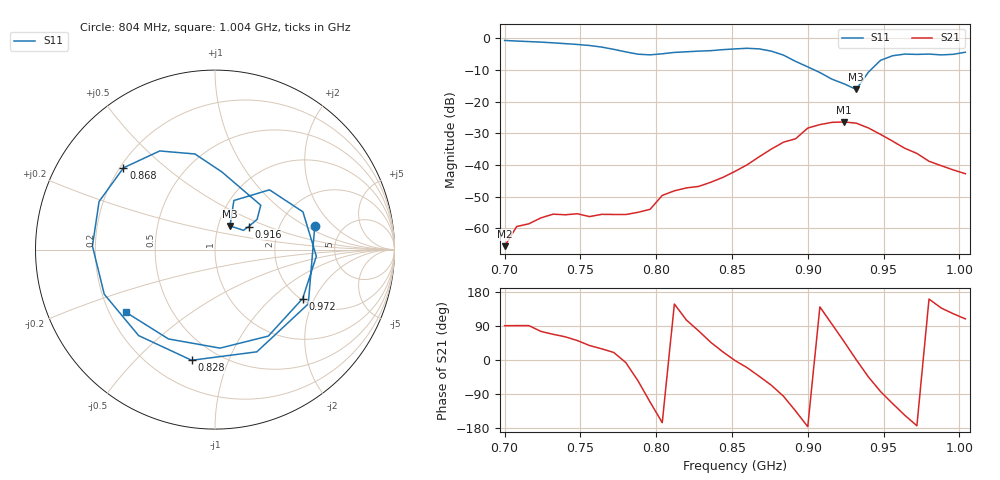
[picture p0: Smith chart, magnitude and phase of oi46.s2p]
# Hz S RI R 50
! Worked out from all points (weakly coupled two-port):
!   39 points, 700 MHz to 1.004 GHz, reference 50 ohm
!   highest |S21| = -26.40 dB at 924 MHz (marker M1); lowest = -65.7 dB at 700 MHz (marker M2)
!   lowest |S11| = -16.1 dB at 932 MHz (marker M3), VSWR 1.37, Z = 56.9 + j15.4 ohm
!   |S11| at or under -10 dB: 904.5 MHz to 941.4 MHz (36.92 MHz wide, 4 % of centre)
!   S12 and S22 are empty: the file has one direction only
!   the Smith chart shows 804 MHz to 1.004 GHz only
!   S11 on the Smith chart (normalised r, x): 804 MHz: 3.13, +1.24; 828 MHz: 0.36, -0.74; 868 MHz: 0.21, +0.37; 916 MHz: 1.40, +0.38; 972 MHz: 2.05, -1.62; 1.004 GHz: 0.27, -0.30
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7e8  0.7623 0.5319  -4.95e-06 0.000519  0 0  0 0
7.08e8  0.8631 0.2879  -1.43e-05 0.00106  0 0  0 0
7.24e8  0.8363 -0.2583  0.000368 0.00141  0 0  0 0
7.4e8  0.4461 -0.6971  0.000784 0.00143  0 0  0 0
7.56e8  -0.1952 -0.7483  0.0012 0.000943  0 0  0 0
7.72e8  -0.6455 -0.1883  0.00155 0.00056  0 0  0 0
7.8e8  -0.5693 0.2264  0.00163 -0.000196  0 0  0 0
7.88e8  -0.2169 0.5199  0.00102 -0.00146  0 0  0 0
8.04e8  0.5562 0.133  -0.00319 -0.000836  0 0  0 0
8.2e8  0.2331 -0.5696  -0.00113 0.00418  0 0  0 0
8.28e8  -0.1303 -0.6166  0.00104 0.00445  0 0  0 0
8.52e8  -0.6829 0.0199  0.00791 -0.000196  0 0  0 0
8.68e8  -0.5098 0.4556  0.00984 -0.00921  0 0  0 0
8.84e8  -0.1115 0.5327  -0.00226 -0.0228  0 0  0 0
9.08e8  0.2347 0.1687  -0.0333 0.0278  0 0  0 0
9.16e8  0.1872 0.128  -0.00358 0.047  0 0  0 0
9.24e8  0.1585 0.1074  0.0318 0.0357  0 0  0 0
9.32e8  0.0837 0.1318  0.0458 0.000506  0 0  0 0
9.56e8  0.49 0.2103  -0.0101 -0.0215  0 0  0 0
9.72e8  0.4884 -0.2726  -0.0151 -0.00172  0 0  0 0
9.88e8  0.0279 -0.5489  -0.00715 0.00661  0 0  0 0
1.004e9  -0.4947 -0.3502  -0.0023 0.00688  0 0  0 0
